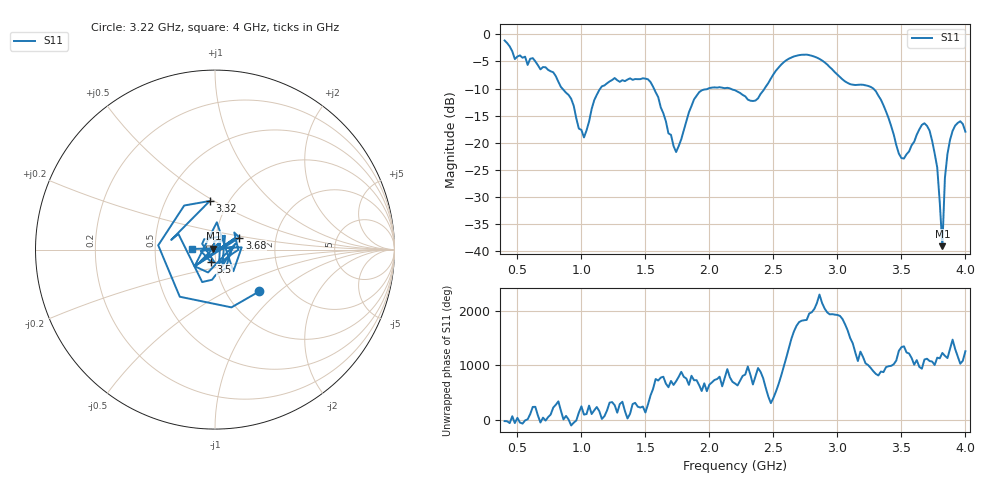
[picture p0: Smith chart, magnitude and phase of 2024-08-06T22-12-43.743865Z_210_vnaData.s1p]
!Created with skrf (http://scikit-rf.org).
# Hz S RI R 50.0
!freq ReS11 ImS11
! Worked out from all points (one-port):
!   181 points, 400 MHz to 4 GHz, reference 50 ohm
!   lowest |S11| = -39.0 dB at 3.82 GHz (marker M1), VSWR 1.02, Z = 49.1 + j0.599 ohm
!   |S11| at or under -10 dB: 850.9 MHz to 1.147 GHz (296.4 MHz wide, 29.7 % of centre); 1.567 GHz to 1.991 GHz (424.1 MHz wide, 23.8 % of centre); 3.281 GHz to end of sweep (the widest 3 of 4)
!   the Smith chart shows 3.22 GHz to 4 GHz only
!   S11 on the Smith chart (normalised r, x): 3.22 GHz: 1.42, -0.75; 3.32 GHz: 0.82, +0.48; 3.5 GHz: 0.95, -0.13; 3.68 GHz: 1.30, +0.18; 4 GHz: 0.77, +0.01
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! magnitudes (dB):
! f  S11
! 400 MHz  -1.1
! 480 MHz  -4.6
! 620 MHz  -4.4
! 860 MHz  -10.2
! 1.02 GHz  -19.0
! 1.14 GHz  -10.2
! 1.3 GHz  -8.8
! 1.54 GHz  -8.8
! 1.74 GHz  -21.7
! 1.76 GHz  -20.6
! 1.92 GHz  -10.7
! 2.2 GHz  -10.3
! 2.36 GHz  -12.2
! 2.66 GHz  -4.1
! 2.86 GHz  -4.5
! 3.1 GHz  -9.2
! 3.22 GHz  -9.4
! 3.32 GHz  -11.3
! 3.5 GHz  -22.8
! 3.56 GHz  -21.6
! 3.68 GHz  -16.4
! 3.72 GHz  -17.7
! 3.78 GHz  -24.5
! 3.82 GHz  -39.0
! 3.84 GHz  -26.5
! 3.88 GHz  -19.5
! 3.96 GHz  -16.0
! 4 GHz  -17.9
